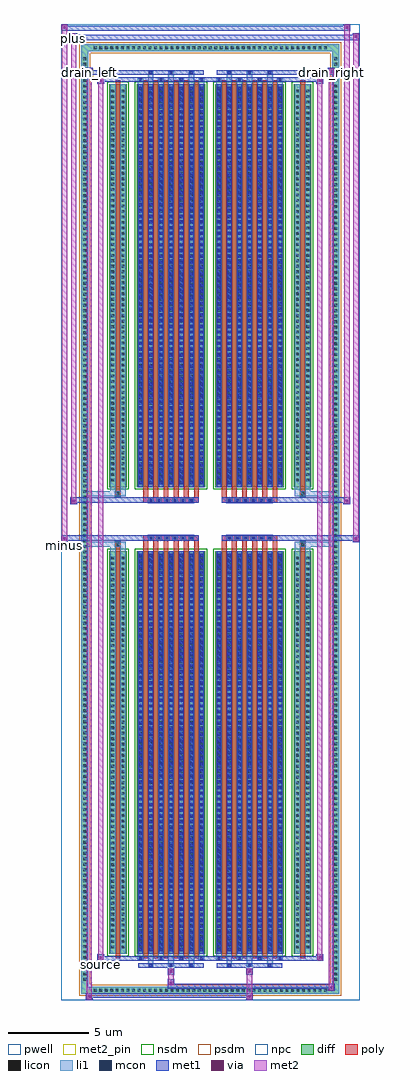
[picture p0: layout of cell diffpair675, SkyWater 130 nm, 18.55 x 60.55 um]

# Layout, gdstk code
import gdstk
lib = gdstk.Library(unit=1e-6, precision=5e-09)
def R(c, l, rs):  # rectangles x0, y0, x1, y1
    for r in rs: c.add(gdstk.rectangle(r[:2], r[2:], *l))
def A(c, l, x, y, w, h, nx, ny, dx, dy):  # array of equal rectangles
    R(c, l, [(x+i*dx, y+j*dy, x+i*dx+w, y+j*dy+h) for i in range(nx) for j in range(ny)])
def P(c, l, *ps):  # polygons
    for p in ps: c.add(gdstk.Polygon(p, *l))
pwell = (64, 44)
diff = (65, 20)
poly = (66, 20)
licon = (66, 44)
li1 = (67, 20)
mcon = (67, 44)
met1 = (68, 20)
via = (68, 44)
met2_pin = (69, 16)
met2 = (69, 20)
nsdm = (93, 44)
psdm = (94, 20)
npc = (95, 20)

diffpair675 = lib.new_cell('diffpair675')
R(diffpair675, pwell, [(-9.26,-29.84,9.26,30.71), (-6.58,-28.03,-0.01,-0.805), (0.01,-28.03,6.58,-0.805), (-6.58,0.805,-0.01,28.03), (0.01,0.805,6.58,28.03)])
A(diffpair675, diff, -7.345, -29.44, 0.41, 0.41, 43, 2, 0.34, 58.47)
A(diffpair675, diff, -7.99, -28.765, 0.41, 0.41, 1, 169, 0, 0.34)
A(diffpair675, diff, 7.58, -28.765, 0.41, 0.41, 1, 169, 0, 0.34)
R(diffpair675, diff, [(-7.345,-29.44,7.345,-29.03), (-7.99,-28.765,-7.58,28.765), (7.58,-28.765,7.99,28.765), (-6.27,-26.985,-5.19,-1.985), (-4.55,-26.985,-0.32,-1.985), (0.32,-26.985,4.55,-1.985), (5.19,-26.985,6.27,-1.985), (-6.27,1.985,-5.19,26.985), (-4.55,1.985,-0.32,26.985), (0.32,1.985,4.55,26.985), (5.19,1.985,6.27,26.985), (-7.345,29.03,7.345,29.44)])
P(diffpair675, diff, [(7.99,29.44),(-7.99,29.44),(-7.99,-29.03),(-7.58,-29.03),(-7.58,29.03),(7.58,29.03),(7.58,-29.03),(-7.58,-29.03),(-7.99,-29.03),(-7.99,-29.44),(7.99,-29.44)])
A(diffpair675, poly, -4.16, -27.235, 0.3, 25.5, 6, 2, 0.63, 28.97)
A(diffpair675, poly, 0.71, -27.235, 0.3, 25.5, 6, 2, 0.63, 28.97)
A(diffpair675, poly, -4.16, -1.735, 0.3, 0.4, 6, 2, 0.63, 3.07)
A(diffpair675, poly, 0.71, -1.735, 0.3, 0.4, 6, 2, 0.63, 3.07)
A(diffpair675, poly, -3.85, -1.335, 0.33, 0.33, 6, 2, 0.5, 2.34)
A(diffpair675, poly, 1.02, -1.335, 0.33, 0.33, 6, 2, 0.5, 2.34)
R(diffpair675, poly, [(-5.88,-27.235,-5.58,-1.735), (5.58,-27.235,5.88,-1.735), (-5.895,-1.735,-5.565,-1.405), (-5.895,-1.735,-5.565,-1.405), (5.565,-1.735,5.895,-1.405), (5.565,-1.735,5.895,-1.405), (-4.16,-1.335,-0.71,-1.005), (0.71,-1.335,4.16,-1.005), (-4.16,1.005,-0.71,1.335), (0.71,1.005,4.16,1.335), (-5.895,1.405,-5.565,1.735), (-5.895,1.405,-5.565,1.735), (5.565,1.405,5.895,1.735), (5.565,1.405,5.895,1.735), (-5.88,1.735,-5.58,27.235), (5.58,1.735,5.88,27.235)])
A(diffpair675, licon, -7.225, -29.32, 0.17, 0.17, 43, 2, 0.34, 58.47)
A(diffpair675, licon, -7.87, -28.645, 0.17, 0.17, 1, 169, 0, 0.34)
A(diffpair675, licon, 7.7, -28.645, 0.17, 0.17, 1, 169, 0, 0.34)
A(diffpair675, licon, -6.13, -26.64, 0.17, 0.17, 1, 72, 0, 0.34)
A(diffpair675, licon, -5.5, -26.64, 0.17, 0.17, 1, 72, 0, 0.34)
A(diffpair675, licon, -4.41, -26.64, 0.17, 0.17, 7, 72, 0.63, 0.34)
A(diffpair675, licon, 0.46, -26.64, 0.17, 0.17, 7, 72, 0.63, 0.34)
A(diffpair675, licon, 5.33, -26.64, 0.17, 0.17, 1, 72, 0, 0.34)
A(diffpair675, licon, 5.96, -26.64, 0.17, 0.17, 1, 72, 0, 0.34)
A(diffpair675, licon, -3.77, -1.255, 0.17, 0.17, 6, 2, 0.5, 2.34)
A(diffpair675, licon, 1.1, -1.255, 0.17, 0.17, 6, 2, 0.5, 2.34)
A(diffpair675, licon, -6.13, 2.33, 0.17, 0.17, 1, 72, 0, 0.34)
A(diffpair675, licon, -5.5, 2.33, 0.17, 0.17, 1, 72, 0, 0.34)
A(diffpair675, licon, -4.41, 2.33, 0.17, 0.17, 7, 72, 0.63, 0.34)
A(diffpair675, licon, 0.46, 2.33, 0.17, 0.17, 7, 72, 0.63, 0.34)
A(diffpair675, licon, 5.33, 2.33, 0.17, 0.17, 1, 72, 0, 0.34)
A(diffpair675, licon, 5.96, 2.33, 0.17, 0.17, 1, 72, 0, 0.34)
R(diffpair675, licon, [(-5.815,-1.655,-5.645,-1.485), (5.645,-1.655,5.815,-1.485), (-5.815,1.485,-5.645,1.655), (5.645,1.485,5.815,1.655)])
A(diffpair675, li1, -7.305, -29.4, 0.33, 0.33, 43, 2, 0.34, 58.47)
A(diffpair675, li1, -7.95, -28.725, 0.33, 0.33, 1, 169, 0, 0.34)
A(diffpair675, li1, 7.62, -28.725, 0.33, 0.33, 1, 169, 0, 0.34)
A(diffpair675, li1, -3.86, -27.79, 0.33, 0.805, 3, 2, 1.26, 54.775)
A(diffpair675, li1, -3.78, -27.79, 0.17, 0.17, 3, 2, 1.26, 55.41)
A(diffpair675, li1, 1.01, -27.79, 0.33, 0.805, 3, 2, 1.26, 54.775)
A(diffpair675, li1, 1.09, -27.79, 0.17, 0.17, 3, 2, 1.26, 55.41)
A(diffpair675, li1, -4.49, -27.36, 0.33, 0.375, 4, 2, 1.26, 54.345)
A(diffpair675, li1, -4.41, -27.36, 0.17, 0.17, 4, 2, 1.26, 54.55)
A(diffpair675, li1, 0.38, -27.36, 0.33, 0.375, 4, 2, 1.26, 54.345)
A(diffpair675, li1, 0.46, -27.36, 0.17, 0.17, 4, 2, 1.26, 54.55)
A(diffpair675, li1, -4.49, -26.985, 0.33, 25, 7, 2, 0.63, 28.97)
A(diffpair675, li1, 0.38, -26.985, 0.33, 25, 7, 2, 0.63, 28.97)
A(diffpair675, li1, -4.41, -26.81, 0.17, 0.17, 7, 69, 0.63, 0.36)
A(diffpair675, li1, -4.41, -26.81, 0.17, 24.65, 7, 2, 0.63, 28.97)
A(diffpair675, li1, 0.46, -26.81, 0.17, 0.17, 7, 69, 0.63, 0.36)
A(diffpair675, li1, 0.46, -26.81, 0.17, 24.65, 7, 2, 0.63, 28.97)
A(diffpair675, li1, -6.21, -26.72, 0.33, 0.33, 1, 72, 0, 0.34)
A(diffpair675, li1, -5.58, -26.72, 0.33, 0.33, 1, 72, 0, 0.34)
A(diffpair675, li1, -4.49, -26.72, 0.33, 0.33, 7, 72, 0.63, 0.34)
A(diffpair675, li1, 0.38, -26.72, 0.33, 0.33, 7, 72, 0.63, 0.34)
A(diffpair675, li1, 5.25, -26.72, 0.33, 0.33, 1, 72, 0, 0.34)
A(diffpair675, li1, 5.88, -26.72, 0.33, 0.33, 1, 72, 0, 0.34)
A(diffpair675, li1, -3.85, -1.335, 0.33, 0.33, 6, 2, 0.5, 2.34)
A(diffpair675, li1, 1.02, -1.335, 0.33, 0.33, 6, 2, 0.5, 2.34)
A(diffpair675, li1, -4.41, 2.16, 0.17, 0.17, 7, 69, 0.63, 0.36)
A(diffpair675, li1, 0.46, 2.16, 0.17, 0.17, 7, 69, 0.63, 0.36)
A(diffpair675, li1, -6.21, 2.25, 0.33, 0.33, 1, 72, 0, 0.34)
A(diffpair675, li1, -5.58, 2.25, 0.33, 0.33, 1, 72, 0, 0.34)
A(diffpair675, li1, -4.49, 2.25, 0.33, 0.33, 7, 72, 0.63, 0.34)
A(diffpair675, li1, 0.38, 2.25, 0.33, 0.33, 7, 72, 0.63, 0.34)
A(diffpair675, li1, 5.25, 2.25, 0.33, 0.33, 1, 72, 0, 0.34)
A(diffpair675, li1, 5.88, 2.25, 0.33, 0.33, 1, 72, 0, 0.34)
R(diffpair675, li1, [(-7.99,-29.44,-7.58,-29.03), (-7.99,-29.44,-7.58,-29.03), (-7.58,-29.44,7.58,-29.03), (7.58,-29.44,7.99,-29.03), (7.58,-29.44,7.99,-29.03), (-7.99,-29.03,-7.58,29.03), (7.58,-29.03,7.99,29.03), (-6.21,-26.985,-5.88,-1.985), (-5.58,-26.985,-5.25,-1.985), (5.25,-26.985,5.58,-1.985), (5.88,-26.985,6.21,-1.985), (-6.21,-1.985,-5.88,-1.405), (-5.58,-1.985,-5.25,-1.405), (5.25,-1.985,5.58,-1.405), (5.88,-1.985,6.21,-1.405), (-7.99,-1.735,-5.895,-1.405), (-6.21,-1.735,-5.895,-1.405), (-5.895,-1.735,-5.565,-1.405), (-5.565,-1.735,-5.25,-1.405), (5.25,-1.735,5.565,-1.405), (5.565,-1.735,5.895,-1.405), (5.565,-1.735,7.99,-1.405), (5.895,-1.735,6.21,-1.405), (-7.99,1.405,-5.895,1.735), (-6.21,1.405,-5.895,1.735), (-6.21,1.405,-5.88,1.985), (-5.895,1.405,-5.565,1.735), (-5.58,1.405,-5.25,1.985), (-5.565,1.405,-5.25,1.735), (5.25,1.405,5.565,1.735), (5.25,1.405,5.58,1.985), (5.565,1.405,5.895,1.735), (5.565,1.405,7.99,1.735), (5.88,1.405,6.21,1.985), (5.895,1.405,6.21,1.735), (-6.21,1.985,-5.88,26.985), (-5.58,1.985,-5.25,26.985), (5.25,1.985,5.58,26.985), (5.88,1.985,6.21,26.985), (-7.99,29.03,-7.58,29.44), (-7.99,29.03,-7.58,29.44), (-7.58,29.03,7.58,29.44), (7.58,29.03,7.99,29.44), (7.58,29.03,7.99,29.44)])
A(diffpair675, mcon, -3.78, -27.79, 0.17, 0.17, 3, 2, 1.26, 55.41)
A(diffpair675, mcon, 1.09, -27.79, 0.17, 0.17, 3, 2, 1.26, 55.41)
A(diffpair675, mcon, -4.41, -27.36, 0.17, 0.17, 4, 2, 1.26, 54.55)
A(diffpair675, mcon, 0.46, -27.36, 0.17, 0.17, 4, 2, 1.26, 54.55)
A(diffpair675, mcon, -4.41, -26.81, 0.17, 0.17, 7, 69, 0.63, 0.36)
A(diffpair675, mcon, 0.46, -26.81, 0.17, 0.17, 7, 69, 0.63, 0.36)
A(diffpair675, mcon, -3.77, -1.255, 0.17, 0.17, 6, 2, 0.5, 2.34)
A(diffpair675, mcon, 1.1, -1.255, 0.17, 0.17, 6, 2, 0.5, 2.34)
A(diffpair675, mcon, -4.41, 2.16, 0.17, 0.17, 7, 69, 0.63, 0.36)
A(diffpair675, mcon, 0.46, 2.16, 0.17, 0.17, 7, 69, 0.63, 0.36)
A(diffpair675, met1, -3.84, -27.85, 0.29, 0.29, 3, 2, 1.26, 55.41)
A(diffpair675, met1, 1.03, -27.85, 0.29, 0.29, 3, 2, 1.26, 55.41)
A(diffpair675, met1, -4.47, -27.42, 0.29, 0.29, 4, 2, 1.26, 54.55)
A(diffpair675, met1, 0.4, -27.42, 0.29, 0.29, 4, 2, 1.26, 54.55)
A(diffpair675, met1, -4.47, -26.985, 0.29, 25, 7, 2, 0.63, 28.97)
A(diffpair675, met1, 0.4, -26.985, 0.29, 25, 7, 2, 0.63, 28.97)
A(diffpair675, met1, -4.47, -26.87, 0.29, 0.29, 7, 69, 0.63, 0.36)
A(diffpair675, met1, 0.4, -26.87, 0.29, 0.29, 7, 69, 0.63, 0.36)
A(diffpair675, met1, -3.83, -1.315, 0.29, 0.29, 6, 2, 0.5, 2.34)
A(diffpair675, met1, 1.04, -1.315, 0.29, 0.29, 6, 2, 0.5, 2.34)
A(diffpair675, met1, -4.47, 2.1, 0.29, 0.29, 7, 69, 0.63, 0.36)
A(diffpair675, met1, 0.4, 2.1, 0.29, 0.29, 7, 69, 0.63, 0.36)
R(diffpair675, met1, [(-7.72,-29.84,-7.29,-29.41), (2.22,-29.84,2.65,-29.41), (-7.72,-29.7,2.65,-29.41), (7.29,-29.27,7.72,-28.84), (-2.65,-29.13,7.72,-28.84), (-2.65,-28.99,-2.22,-28.56), (-2.65,-28.28,-2.22,-27.85), (2.22,-28.28,2.65,-27.85), (-4.47,-27.85,-0.4,-27.56), (0.4,-27.85,4.47,-27.56), (-7.01,-27.42,-6.58,-26.99), (-7.01,-27.42,-4.47,-27.13), (-4.47,-27.42,-0.4,-27.13), (-0.4,-27.42,0.4,-27.13), (0.4,-27.42,4.47,-27.13), (4.47,-27.42,7.01,-27.13), (6.58,-27.42,7.01,-26.99), (-9.26,-1.435,-8.83,-1.005), (8.83,-1.435,9.26,-1.005), (-9.26,-1.335,-0.71,-1.005), (-4.16,-1.335,-0.71,-1.005), (0.71,-1.335,4.16,-1.005), (0.71,-1.335,9.26,-1.005), (-8.69,0.905,-8.26,1.335), (8.26,0.905,8.69,1.335), (-8.69,1.005,-4.16,1.335), (-4.16,1.005,-0.71,1.335), (0.71,1.005,4.16,1.335), (4.16,1.005,8.69,1.335), (-7.01,26.99,-6.58,27.42), (6.58,26.99,7.01,27.42), (-7.01,27.13,-4.47,27.42), (-4.47,27.13,-0.4,27.42), (-0.4,27.13,0.4,27.42), (0.4,27.13,4.47,27.42), (4.47,27.13,7.01,27.42), (-7.72,27.56,-7.29,27.99), (-7.72,27.56,-4.47,27.85), (-4.47,27.56,-0.4,27.85), (0.4,27.56,4.47,27.85), (4.47,27.56,7.72,27.85), (7.29,27.56,7.72,27.99), (-8.69,29.71,-8.26,30.14), (-8.69,29.71,-6.58,30.04), (-6.58,29.71,6.58,30.04), (6.58,29.71,9.26,30.04), (8.83,29.71,9.26,30.14), (-9.26,30.28,-8.83,30.71), (-9.26,30.28,-6.58,30.61), (-6.58,30.28,6.58,30.61), (6.58,30.28,8.69,30.61), (8.26,30.28,8.69,30.71)])
R(diffpair675, via, [(-7.58,-29.7,-7.43,-29.55), (2.36,-29.7,2.51,-29.55), (7.43,-29.13,7.58,-28.98), (-2.51,-28.85,-2.36,-28.7), (-2.51,-28.14,-2.36,-27.99), (2.36,-28.14,2.51,-27.99), (-6.87,-27.28,-6.72,-27.13), (6.72,-27.28,6.87,-27.13), (-9.12,-1.295,-8.97,-1.145), (8.97,-1.295,9.12,-1.145), (-8.55,1.045,-8.4,1.195), (8.4,1.045,8.55,1.195), (-6.87,27.13,-6.72,27.28), (6.72,27.13,6.87,27.28), (-7.58,27.7,-7.43,27.85), (7.43,27.7,7.58,27.85), (-8.55,29.85,-8.4,30), (8.97,29.85,9.12,30), (-9.12,30.42,-8.97,30.57), (8.4,30.42,8.55,30.57)])
R(diffpair675, met2_pin, [(-7.045,-27.87,-6.545,-27.37), (-9.295,-1.885,-8.795,-1.385), (-7.755,27.44,-7.255,27.94), (7.255,27.44,7.755,27.94), (-8.725,29.59,-8.225,30.09)])
R(diffpair675, met2, [(-7.67,-29.79,-7.34,-29.46), (-7.67,-29.79,-7.34,27.94), (2.27,-29.79,2.6,-29.46), (2.27,-29.46,2.6,-28.23), (7.34,-29.22,7.67,-28.89), (7.34,-29.22,7.67,27.94), (-2.6,-28.94,-2.27,-28.61), (-2.6,-28.61,-2.27,-28.23), (-2.6,-28.23,-2.27,-27.9), (2.27,-28.23,2.6,-27.9), (-6.96,-27.37,-6.63,-27.04), (-6.96,-27.37,-6.63,27.37), (6.63,-27.37,6.96,-27.04), (6.63,-27.37,6.96,27.37), (-9.21,-1.385,-8.88,-1.055), (-9.21,-1.385,-8.88,30.66), (8.88,-1.385,9.21,-1.055), (8.88,-1.385,9.21,30.09), (-8.64,0.955,-8.31,1.285), (-8.64,0.955,-8.31,30.09), (8.31,0.955,8.64,1.285), (8.31,0.955,8.64,30.66), (-6.96,27.04,-6.63,27.37), (6.63,27.04,6.96,27.37), (-7.67,27.61,-7.34,27.94), (7.34,27.61,7.67,27.94), (-8.64,29.76,-8.31,30.09), (8.88,29.76,9.21,30.09), (-9.21,30.33,-8.88,30.66), (8.31,30.33,8.64,30.66)])
P(diffpair675, met2, [(9.21,-1.385),(9.21,-1.385),(9.21,-1.055),(9.21,-1.055)],
  [(9.21,29.76),(9.21,29.76),(9.21,30.09),(9.21,30.09)],
  [(-8.88,-1.385),(-8.88,-1.385),(-8.88,-1.055),(-8.88,-1.055)],
  [(-8.88,30.33),(-8.88,30.33),(-8.88,30.66),(-8.88,30.66)],
  [(8.64,0.955),(8.64,0.955),(8.64,1.285),(8.64,1.285)],
  [(8.64,30.33),(8.64,30.33),(8.64,30.66),(8.64,30.66)],
  [(-8.31,0.955),(-8.31,0.955),(-8.31,1.285),(-8.31,1.285)],
  [(-8.31,29.76),(-8.31,29.76),(-8.31,30.09),(-8.31,30.09)],
  [(-7.34,-29.79),(-7.34,-29.79),(-7.34,-29.46),(-7.34,-29.46)],
  [(-7.34,27.61),(-7.34,27.61),(-7.34,27.94),(-7.34,27.94)],
  [(7.67,-29.22),(7.67,-29.22),(7.67,-28.89),(7.67,-28.89)],
  [(7.67,27.61),(7.67,27.61),(7.67,27.94),(7.67,27.94)],
  [(-6.63,-27.37),(-6.63,-27.37),(-6.63,-27.04),(-6.63,-27.04)],
  [(-6.63,27.04),(-6.63,27.04),(-6.63,27.37),(-6.63,27.37)],
  [(6.96,-27.37),(6.96,-27.37),(6.96,-27.04),(6.96,-27.04)],
  [(6.96,27.04),(6.96,27.04),(6.96,27.37),(6.96,27.37)])
R(diffpair675, nsdm, [(-6.4,-27.115,-5.06,-1.855), (-4.68,-27.115,-0.19,-1.855), (0.19,-27.115,4.68,-1.855), (5.06,-27.115,6.4,-1.855), (-6.4,1.855,-5.06,27.115), (-4.68,1.855,-0.19,27.115), (0.19,1.855,4.68,27.115), (5.06,1.855,6.4,27.115)])
P(diffpair675, psdm, [(8.12,29.57),(-8.12,29.57),(-8.12,-28.9),(-7.45,-28.9),(-7.45,28.9),(7.45,28.9),(7.45,-28.9),(-7.45,-28.9),(-8.12,-28.9),(-8.12,-29.57),(8.12,-29.57)])
A(diffpair675, npc, -3.87, -1.355, 0.37, 0.37, 6, 2, 0.5, 2.34)
A(diffpair675, npc, 1, -1.355, 0.37, 0.37, 6, 2, 0.5, 2.34)
R(diffpair675, npc, [(-5.915,-1.755,-5.545,-1.385), (5.545,-1.755,5.915,-1.385), (-3.87,-1.355,-3,-0.985), (-3.87,-1.355,-3,-0.985), (-3.37,-1.355,-2.5,-0.985), (-3.37,-1.355,-2.5,-0.985), (-2.87,-1.355,-2,-0.985), (-2.87,-1.355,-2,-0.985), (-2.37,-1.355,-1.5,-0.985), (-2.37,-1.355,-1.5,-0.985), (-1.87,-1.355,-1,-0.985), (-1.87,-1.355,-1,-0.985), (1,-1.355,1.87,-0.985), (1,-1.355,1.87,-0.985), (1.5,-1.355,2.37,-0.985), (1.5,-1.355,2.37,-0.985), (2,-1.355,2.87,-0.985), (2,-1.355,2.87,-0.985), (2.5,-1.355,3.37,-0.985), (2.5,-1.355,3.37,-0.985), (3,-1.355,3.87,-0.985), (3,-1.355,3.87,-0.985), (-3.87,0.985,-3,1.355), (-3.87,0.985,-3,1.355), (-3.37,0.985,-2.5,1.355), (-3.37,0.985,-2.5,1.355), (-2.87,0.985,-2,1.355), (-2.87,0.985,-2,1.355), (-2.37,0.985,-1.5,1.355), (-2.37,0.985,-1.5,1.355), (-1.87,0.985,-1,1.355), (-1.87,0.985,-1,1.355), (1,0.985,1.87,1.355), (1,0.985,1.87,1.355), (1.5,0.985,2.37,1.355), (1.5,0.985,2.37,1.355), (2,0.985,2.87,1.355), (2,0.985,2.87,1.355), (2.5,0.985,3.37,1.355), (2.5,0.985,3.37,1.355), (3,0.985,3.87,1.355), (3,0.985,3.87,1.355), (-5.915,1.385,-5.545,1.755), (5.545,1.385,5.915,1.755)])
diffpair675.add(gdstk.Label('minus', (-9.045,-1.635), layer=69, texttype=5))
diffpair675.add(gdstk.Label('drain_right', (7.505,27.69), layer=69, texttype=5))
diffpair675.add(gdstk.Label('drain_left', (-7.505,27.69), layer=69, texttype=5))
diffpair675.add(gdstk.Label('source', (-6.795,-27.62), layer=69, texttype=5))
diffpair675.add(gdstk.Label('plus', (-8.475,29.84), layer=69, texttype=5))

lib.write_gds('diffpair675.gds')
